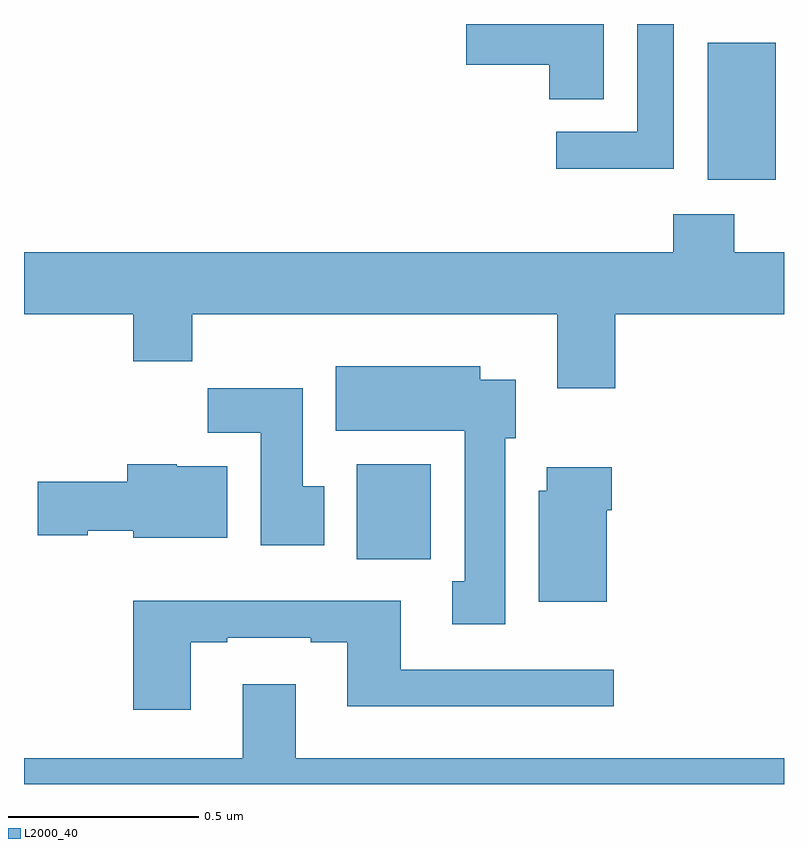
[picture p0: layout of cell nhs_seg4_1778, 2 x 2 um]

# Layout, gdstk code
import gdstk
lib = gdstk.Library(unit=1e-6, precision=1e-09)
def R(c, l, rs):  # rectangles x0, y0, x1, y1
    for r in rs: c.add(gdstk.rectangle(r[:2], r[2:], *l))
def P(c, l, *ps):  # polygons
    for p in ps: c.add(gdstk.Polygon(p, *l))
L2000_40 = (2000, 40)

nhs_seg4_1778 = lib.new_cell('nhs_seg4_1778')
R(nhs_seg4_1778, L2000_40, [(132.875,813.492,133.071,813.742), (133.799,814.49,133.978,814.851)])
P(nhs_seg4_1778, L2000_40, [(133.71,814.9),(133.614,814.9),(133.614,814.617),(133.401,814.617),(133.401,814.519),(133.71,814.519)],
  [(133.525,814.9),(133.164,814.9),(133.164,814.793),(133.382,814.793),(133.382,814.702),(133.525,814.702)],
  [(133.556,814.136),(134,814.136),(134,814.3),(133.869,814.3),(133.869,814.399),(133.709,814.399),(133.709,814.3),(132,814.3),(132,814.136),(132.287,814.136),(132.287,814.012),(132.443,814.012),(132.443,814.136),(133.403,814.136),(133.403,813.942),(133.556,813.942)],
  [(133.267,813.81),(133.294,813.81),(133.294,813.964),(133.201,813.964),(133.201,814),(132.821,814),(132.821,813.83),(133.16,813.83),(133.16,813.433),(133.127,813.433),(133.127,813.321),(133.267,813.321)],
  [(132.79,813.684),(132.733,813.684),(132.733,813.942),(132.484,813.942),(132.484,813.824),(132.623,813.824),(132.623,813.528),(132.79,813.528)],
  [(132.535,813.736),(132.402,813.736),(132.402,813.742),(132.272,813.742),(132.272,813.696),(132.036,813.696),(132.036,813.554),(132.168,813.554),(132.168,813.566),(132.288,813.566),(132.288,813.548),(132.535,813.548)],
  [(133.534,813.62),(133.547,813.62),(133.547,813.733),(133.376,813.733),(133.376,813.672),(133.355,813.672),(133.355,813.38),(133.534,813.38)],
  [(132.439,813.273),(132.535,813.273),(132.535,813.285),(132.755,813.285),(132.755,813.273),(132.851,813.273),(132.851,813.104),(133.552,813.104),(133.552,813.201),(132.991,813.201),(132.991,813.382),(132.287,813.382),(132.287,813.096),(132.439,813.096)],
  [(134,812.968),(132.715,812.968),(132.715,813.163),(132.575,813.163),(132.575,812.968),(132,812.968),(132,812.9),(134,812.9)])

lib.write_gds('nhs_seg4_1778.gds')
